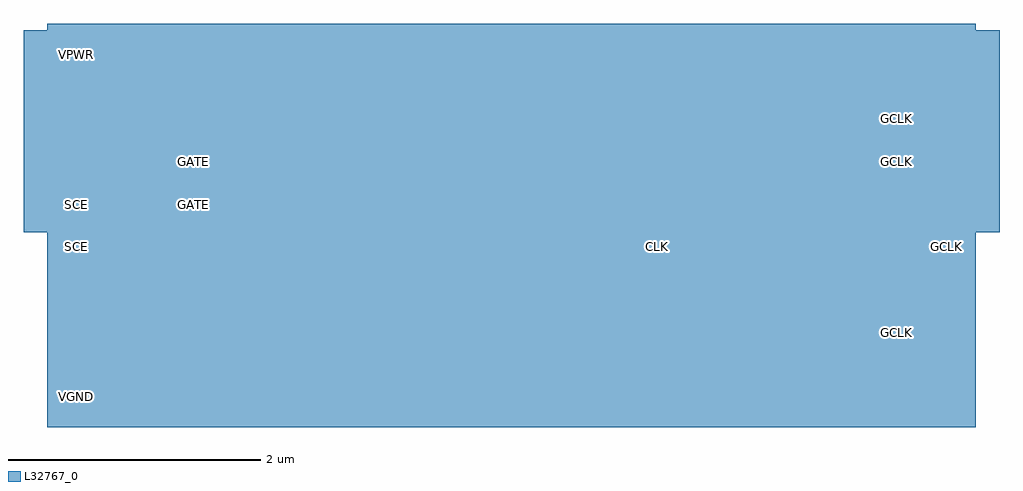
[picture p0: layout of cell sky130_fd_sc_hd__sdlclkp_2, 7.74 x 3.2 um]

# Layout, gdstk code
import gdstk
lib = gdstk.Library(unit=1e-6, precision=1e-09)
def R(c, l, rs):  # rectangles x0, y0, x1, y1
    for r in rs: c.add(gdstk.rectangle(r[:2], r[2:], *l))
def A(c, l, x, y, w, h, nx, ny, dx, dy):  # array of equal rectangles
    R(c, l, [(x+i*dx, y+j*dy, x+i*dx+w, y+j*dy+h) for i in range(nx) for j in range(ny)])
def P(c, l, *ps):  # polygons
    for p in ps: c.add(gdstk.Polygon(p, *l))
L32767_0 = (32767, 0)

sky130_fd_sc_hd__sdlclkp = lib.new_cell('sky130_fd_sc_hd__sdlclkp_2')
A(sky130_fd_sc_hd__sdlclkp, L32767_0, 0.605, -0.085, 0.17, 0.17, 15, 2, 0.46, 2.72)
A(sky130_fd_sc_hd__sdlclkp, L32767_0, 7.015, 1.575, 0.17, 0.17, 1, 3, 0, 0.34)
R(sky130_fd_sc_hd__sdlclkp, L32767_0, [(0,-0.19,7.36,1.015), (0.145,-0.085,0.315,0.085), (0.15,-0.085,0.32,0.085), (0.15,-0.085,0.32,0.085), (0,0,7.36,2.72), (0,0,7.36,2.72), (3.715,0.235,4.805,0.655), (0.595,0.275,0.765,0.445), (1.55,0.275,1.72,0.445), (4.175,0.275,4.345,0.445), (6.06,0.275,6.23,0.445), (7.015,0.295,7.185,0.465), (1.015,0.335,1.185,0.505), (3.235,0.335,3.405,0.505), (6.595,0.335,6.765,0.505), (0.175,0.345,0.345,0.515), (5.14,0.375,5.31,0.545), (3.755,0.38,3.925,0.55), (4.595,0.38,4.765,0.55), (2.73,0.425,2.9,0.595), (6.645,0.425,6.815,0.595), (7.015,0.635,7.185,0.805), (1.875,0.705,2.16,1.035), (1.99,0.765,2.16,0.935), (3.83,0.765,4,0.935), (1.365,0.785,1.535,0.955), (1.875,0.785,2.045,0.955), (0.085,0.955,0.34,1.665), (5.8,0.965,5.97,1.135), (0.155,1.075,0.325,1.245), (0.855,1.075,1.025,1.245), (2.845,1.075,3.015,1.245), (4.705,1.075,4.875,1.245), (6.33,1.075,6.5,1.245), (0.145,1.105,0.315,1.275), (3.995,1.105,4.165,1.275), (4.75,1.105,4.92,1.275), (7.105,1.105,7.275,1.275), (0,1.25,7.36,2.72), (-0.19,1.305,7.55,2.91), (5.4,1.435,5.57,1.605), (0.145,1.445,0.315,1.615), (1.07,1.445,1.24,1.615), (1.53,1.445,1.7,1.615), (4.29,1.445,4.46,1.615), (3.79,1.575,3.96,1.745), (4.76,1.575,4.93,1.745), (1.695,1.655,1.865,1.825), (2.375,1.655,2.545,1.825), (6.595,1.73,6.765,1.9), (1.07,1.785,1.24,1.955), (6.645,1.785,6.815,1.955), (0.175,1.915,0.345,2.085), (5.7,2.04,5.87,2.21), (6.595,2.07,6.765,2.24), (3.235,2.12,3.405,2.29), (6.645,2.125,6.815,2.295), (1.01,2.205,1.18,2.375), (1.515,2.23,1.685,2.4), (0.175,2.255,0.345,2.425), (4.275,2.255,4.445,2.425), (5.28,2.255,5.45,2.425), (2.71,2.275,2.88,2.445), (6.15,2.275,6.32,2.445), (0.145,2.635,0.315,2.805), (0.15,2.635,0.32,2.805), (0.15,2.635,0.32,2.805)])
P(sky130_fd_sc_hd__sdlclkp, L32767_0, [(7.225,0.885),(6.145,0.885),(6.145,0.655),(5.1,0.655),(5.1,0.235),(7.225,0.235)],
  [(4.97,2.155),(4.485,2.155),(4.485,2.485),(4.235,2.485),(4.235,2.155),(3.75,2.155),(3.75,1.515),(4.97,1.515)],
  [(7.225,2.485),(5.24,2.485),(5.24,1.845),(6.145,1.845),(6.145,1.485),(7.225,1.485)],
  [(3.445,0.885),(2.66,0.885),(2.66,0.655),(2.185,0.655),(2.185,0.595),(1.225,0.595),(1.225,0.655),(0.135,0.655),(0.135,0.235),(3.445,0.235)],
  [(3.445,2.485),(0.135,2.485),(0.135,1.845),(1.21,1.845),(1.21,2.065),(2.785,2.065),(2.785,1.485),(3.445,1.485)],
  [(2.095,1.035),(1.975,1.035),(1.975,1.365),(1.435,1.365),(1.435,2.615),(1.285,2.615),(1.285,1.215),(1.825,1.215),(1.825,0.105),(1.975,0.105),(1.975,0.705),(2.095,0.705)],
  [(1.915,2.615),(1.765,2.615),(1.765,1.905),(1.645,1.905),(1.645,1.575),(1.915,1.575)],
  [(1.615,1.005),(1.285,1.005),(1.285,0.735),(1.3,0.735),(1.3,0.105),(1.45,0.105),(1.45,0.735),(1.615,0.735)],
  [(1.075,1.325),(0.905,1.325),(0.905,2.615),(0.755,2.615),(0.755,0.995),(0.815,0.995),(0.815,0.105),(0.965,0.105),(0.965,0.995),(1.075,0.995)],
  [(6.07,2.615),(5.92,2.615),(5.92,1.185),(5.72,1.185),(5.72,0.105),(5.87,0.105),(5.87,0.915),(6.07,0.915)],
  [(3.185,2.615),(3.035,2.615),(3.035,1.325),(2.795,1.325),(2.795,0.995),(3.035,0.995),(3.035,0.105),(3.185,0.105)],
  [(4.245,1.325),(4.16,1.325),(4.16,2.615),(4.01,2.615),(4.01,1.325),(3.915,1.325),(3.915,1.055),(3.975,1.055),(3.975,0.105),(4.125,0.105),(4.125,1.055),(4.245,1.055)],
  [(2.595,1.905),(2.505,1.905),(2.505,2.615),(2.355,2.615),(2.355,1.905),(2.325,1.905),(2.325,1.575),(2.435,1.575),(2.435,0.105),(2.585,0.105),(2.585,1.575),(2.595,1.575)],
  [(0.545,2.615),(0.395,2.615),(0.395,1.325),(0.105,1.325),(0.105,0.995),(0.395,0.995),(0.395,0.105),(0.545,0.105)],
  [(4.925,1.325),(4.71,1.325),(4.71,2.615),(4.56,2.615),(4.56,1.325),(4.505,1.325),(4.505,0.88),(4.395,0.88),(4.395,0.105),(4.545,0.105),(4.545,0.73),(4.925,0.73)],
  [(5.65,2.615),(5.5,2.615),(5.5,1.655),(5.32,1.655),(5.32,1.385),(5.36,1.385),(5.36,0.105),(5.51,0.105),(5.51,1.385),(5.65,1.385)],
  [(6.965,2.615),(6.815,2.615),(6.815,1.325),(6.545,1.325),(6.545,2.615),(6.395,2.615),(6.395,1.325),(6.28,1.325),(6.28,0.995),(6.395,0.995),(6.395,0.105),(6.545,0.105),(6.545,0.995),(6.815,0.995),(6.815,0.105),(6.965,0.105)],
  [(7.36,2.91),(0,2.91),(0,1.355),(1.585,1.355),(1.585,1.935),(2.655,1.935),(2.655,1.355),(3.595,1.355),(3.595,1.385),(4.275,1.385),(4.275,1.355),(5.29,1.355),(5.29,1.715),(5.68,1.715),(5.68,1.355),(7.36,1.355)],
  [(7.36,1.345),(5.67,1.345),(5.67,1.705),(5.3,1.705),(5.3,1.345),(4.265,1.345),(4.265,1.375),(3.895,1.375),(3.895,1.345),(2.645,1.345),(2.645,1.925),(1.595,1.925),(1.595,1.345),(0,1.345),(0,0.975),(1.265,0.975),(1.265,0.685),(2.145,0.685),(2.145,0.975),(5.7,0.975),(5.7,0.865),(6.07,0.865),(6.07,0.975),(7.36,0.975)],
  [(6.5,1.325),(6.4,1.325),(6.4,2.085),(5.87,2.085),(5.87,2.465),(5.7,2.465),(5.7,1.775),(5.82,1.775),(5.82,1.435),(6.23,1.435),(6.23,0.785),(5.1,0.785),(5.1,0.255),(5.31,0.255),(5.31,0.615),(6.4,0.615),(6.4,0.995),(6.5,0.995)],
  [(3.015,1.375),(2.205,1.375),(2.205,2.465),(1.43,2.465),(1.43,2.125),(2.035,2.125),(2.035,1.205),(2.33,1.205),(2.33,0.535),(1.365,0.535),(1.365,0.255),(2.5,0.255),(2.5,0.995),(3.015,0.995)],
  [(4.04,1.745),(3.575,1.745),(3.575,0.255),(3.925,0.255),(3.925,0.765),(4,0.765),(4,0.935),(3.745,0.935),(3.745,1.575),(4.04,1.575)],
  [(5.65,1.605),(5.49,1.605),(5.49,2.085),(3.405,2.085),(3.405,2.465),(3.185,2.465),(3.185,1.905),(2.375,1.905),(2.375,1.575),(2.545,1.575),(2.545,1.635),(3.185,1.635),(3.185,0.255),(3.405,0.255),(3.405,1.915),(5.18,1.915),(5.18,1.435),(5.65,1.435)],
  [(1.865,1.955),(1.41,1.955),(1.41,1.325),(1.365,1.325),(1.365,0.705),(1.705,0.705),(1.705,1.205),(1.865,1.205)],
  [(7.275,1.315),(6.84,1.315),(6.84,2.465),(6.57,2.465),(6.57,1.495),(6.67,1.495),(6.67,0.825),(6.57,0.825),(6.57,0.255),(6.84,0.255),(6.84,1.055),(7.275,1.055)],
  [(6.05,1.265),(4.925,1.265),(4.925,1.325),(4.705,1.325),(4.705,0.955),(6.05,0.955)],
  [(1.26,2.465),(0.515,2.465),(0.515,0.785),(0.085,0.785),(0.085,0.255),(0.345,0.255),(0.345,0.615),(1.015,0.615),(1.015,0.255),(1.195,0.255),(1.195,0.785),(0.685,0.785),(0.685,2.125),(1.26,2.125)],
  [(1.24,1.955),(0.855,1.955),(0.855,0.955),(1.195,0.955),(1.195,1.445),(1.24,1.445)],
  [(5.01,1.745),(4.21,1.745),(4.21,1.275),(3.915,1.275),(3.915,1.105),(4.17,1.105),(4.17,0.615),(4.595,0.615),(4.595,0.255),(4.825,0.255),(4.825,0.785),(4.46,0.785),(4.46,1.495),(5.01,1.495)],
  [(7.36,2.805),(0,2.805),(0,2.635),(0.085,2.635),(0.085,1.835),(0.345,1.835),(0.345,2.635),(2.375,2.635),(2.375,2.075),(3.015,2.075),(3.015,2.635),(3.575,2.635),(3.575,2.255),(5.53,2.255),(5.53,2.635),(6.07,2.635),(6.07,2.255),(6.4,2.255),(6.4,2.635),(7.01,2.635),(7.01,1.485),(7.275,1.485),(7.275,2.635),(7.36,2.635)],
  [(7.36,0.085),(7.275,0.085),(7.275,0.885),(7.01,0.885),(7.01,0.085),(6.4,0.085),(6.4,0.445),(5.49,0.445),(5.49,0.085),(4.425,0.085),(4.425,0.445),(4.095,0.445),(4.095,0.085),(3.015,0.085),(3.015,0.825),(2.67,0.825),(2.67,0.085),(0.845,0.085),(0.845,0.445),(0.515,0.445),(0.515,0.085),(0,0.085),(0,-0.085),(7.36,-0.085)],
  [(4.52,1.645),(4.23,1.645),(4.23,1.6),(1.76,1.6),(1.76,1.645),(1.47,1.645),(1.47,1.415),(1.76,1.415),(1.76,1.46),(4.23,1.46),(4.23,1.415),(4.52,1.415)],
  [(4.06,0.965),(3.77,0.965),(3.77,0.92),(2.22,0.92),(2.22,0.965),(1.93,0.965),(1.93,0.735),(2.22,0.735),(2.22,0.78),(3.77,0.78),(3.77,0.735),(4.06,0.735)])
sky130_fd_sc_hd__sdlclkp.add(gdstk.FlexPath([(0,2.72),(7.36,2.72)], 0.48, ends="flush", simple_path=True, layer=32767, datatype=0))  # L32767_0
sky130_fd_sc_hd__sdlclkp.add(gdstk.FlexPath([(0,0),(7.36,0)], 0.48, ends="flush", simple_path=True, layer=32767, datatype=0))  # L32767_0
sky130_fd_sc_hd__sdlclkp.add(gdstk.Label('SCE', (0.23,1.53), layer=32767, texttype=5))
sky130_fd_sc_hd__sdlclkp.add(gdstk.Label('CLK', (4.835,1.19), layer=32767, texttype=5))
sky130_fd_sc_hd__sdlclkp.add(gdstk.Label('GCLK', (6.73,2.21), layer=32767, texttype=5))
sky130_fd_sc_hd__sdlclkp.add(gdstk.Label('GCLK', (6.73,1.87), layer=32767, texttype=5))
sky130_fd_sc_hd__sdlclkp.add(gdstk.Label('GATE', (1.155,1.87), layer=32767, texttype=5))
sky130_fd_sc_hd__sdlclkp.add(gdstk.Label('GCLK', (6.73,0.51), layer=32767, texttype=5))
sky130_fd_sc_hd__sdlclkp.add(gdstk.Label('GATE', (1.155,1.53), layer=32767, texttype=5))
sky130_fd_sc_hd__sdlclkp.add(gdstk.Label('SCE', (0.23,1.19), layer=32767, texttype=5))
sky130_fd_sc_hd__sdlclkp.add(gdstk.Label('GCLK', (7.13,1.19), layer=32767, texttype=5))
sky130_fd_sc_hd__sdlclkp.add(gdstk.Label('VGND', (0.23,0), layer=32767, texttype=5))
sky130_fd_sc_hd__sdlclkp.add(gdstk.Label('VPWR', (0.23,2.72), layer=32767, texttype=5))
sky130_fd_sc_hd__sdlclkp.add(gdstk.Label('VPB', (0.235,2.72), layer=32767, texttype=5))
sky130_fd_sc_hd__sdlclkp.add(gdstk.Label('VNB', (0.235,0), layer=32767, texttype=59))
sky130_fd_sc_hd__sdlclkp.add(gdstk.Label('sdlclkp_2', (0,0), layer=32767, texttype=44))

lib.write_gds('sky130_fd_sc_hd__sdlclkp_2.gds')
